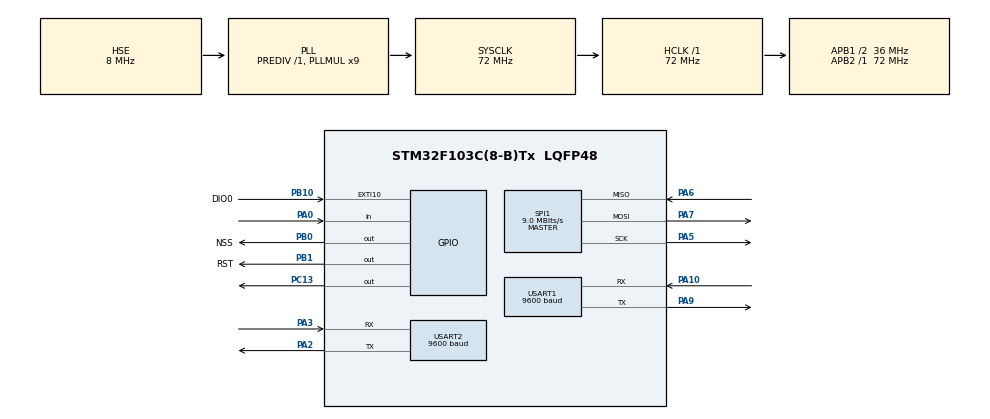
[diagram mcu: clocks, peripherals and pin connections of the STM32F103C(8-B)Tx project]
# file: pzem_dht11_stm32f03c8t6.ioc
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Mcu.Family=STM32F1
Mcu.Name=STM32F103C(8-B)Tx
Mcu.Package=LQFP48
NVIC.PriorityGroup=NVIC_PRIORITYGROUP_4
NVIC.USART1_IRQn=true\:0\:0\:false\:false\:true\:true\:true\:true
PA0-WKUP.Signal=GPIO_Input
PA10.Mode=Asynchronous
PA10.Signal=USART1_RX
PA13.Mode=Serial_Wire
PA13.Signal=SYS_JTMS-SWDIO
PA14.Mode=Serial_Wire
PA14.Signal=SYS_JTCK-SWCLK
PA2.Mode=Asynchronous
PA2.Signal=USART2_TX
PA3.Mode=Asynchronous
PA3.Signal=USART2_RX
PA5.Mode=Full_Duplex_Master
PA5.Signal=SPI1_SCK
PA6.Mode=Full_Duplex_Master
PA6.Signal=SPI1_MISO
PA7.Mode=Full_Duplex_Master
PA7.Signal=SPI1_MOSI
PA9.Mode=Asynchronous
PA9.Signal=USART1_TX
PB0.GPIO_Label=NSS
PB0.PinState=GPIO_PIN_SET
PB0.Signal=GPIO_Output
PB1.GPIO_Label=RST
PB1.GPIO_Speed=GPIO_SPEED_FREQ_LOW
PB1.PinState=GPIO_PIN_SET
PB1.Signal=GPIO_Output
PB10.GPIO_Label=DIO0
PB10.Signal=GPXTI10
PC13-TAMPER-RTC.Signal=GPIO_Output
PD0-OSC_IN.Mode=HSE-External-Oscillator
PD0-OSC_IN.Signal=RCC_OSC_IN
PD1-OSC_OUT.Mode=HSE-External-Oscillator
PD1-OSC_OUT.Signal=RCC_OSC_OUT
ProjectManager.HeapSize=0x200
ProjectManager.StackSize=0x400
ProjectManager.TargetToolchain=STM32CubeIDE
RCC.AHBFreq_Value=72000000
RCC.APB1CLKDivider=RCC_HCLK_DIV2
RCC.APB1Freq_Value=36000000
RCC.APB1TimFreq_Value=72000000
RCC.APB2Freq_Value=72000000
RCC.APB2TimFreq_Value=72000000
RCC.HCLKFreq_Value=72000000
RCC.PLLMUL=RCC_PLL_MUL9
RCC.PLLSourceVirtual=RCC_PLLSOURCE_HSE
RCC.SYSCLKFreq_VALUE=72000000
RCC.SYSCLKSource=RCC_SYSCLKSOURCE_PLLCLK
RCC.USBFreq_Value=72000000
SPI1.BaudRatePrescaler=SPI_BAUDRATEPRESCALER_8
SPI1.CalculateBaudRate=9.0 MBits/s
SPI1.Direction=SPI_DIRECTION_2LINES
SPI1.Mode=SPI_MODE_MASTER
SPI1.VirtualType=VM_MASTER
USART1.BaudRate=9600
USART1.VirtualMode=VM_ASYNC
USART2.BaudRate=9600
USART2.VirtualMode=VM_ASYNC
board=custom

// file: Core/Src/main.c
/* USER CODE BEGIN Header */
/**
  ******************************************************************************
  * @file           : main.c
  * @brief          : Main program body
  ******************************************************************************
  * @attention
  *
  * Copyright (c) 2022 STMicroelectronics.
  * All rights reserved.
  *
  * This software is licensed under terms that can be found in the LICENSE file
  * in the root directory of this software component.
  * If no LICENSE file comes with this software, it is provided AS-IS.
  *
  ******************************************************************************
  */
/* USER CODE END Header */
#include "main.h"

/* USER CODE BEGIN Includes */
#include "pzem004t.h"
#include "DHT.h"
#include "Lora.h"
/* USER CODE END Includes */

/* USER CODE BEGIN PTD */
DHT_DataTypedef DHT11_Data;
pzem PZEM;
LoRa myLoRa;
_values printval;
/* USER CODE END PTD */

SPI_HandleTypeDef hspi1;

UART_HandleTypeDef huart1;
UART_HandleTypeDef huart2;

/* USER CODE BEGIN PV */
float temp_value = 0.0;
float rh_value = 0.0;
char value_array[100] = {0};
uint8_t start_Lora = 0;

//float voltage = 0.0;
/* USER CODE END PV */

void SystemClock_Config(void);
static void MX_GPIO_Init(void);
static void MX_USART1_UART_Init(void);
static void MX_USART2_UART_Init(void);
static void MX_SPI1_Init(void);
/* USER CODE BEGIN PFP */
void SPI_Voltage_Transmit(LoRa* _LoRa, pzem *pzem);
void SPI_Current_Transmit(LoRa* _LoRa, pzem *pzem);
void SPI_Power_Transmit(LoRa* _LoRa, pzem *pzem);
void SPI_Energy_Transmit(LoRa* _LoRa, pzem *pzem);
void SPI_Frequency_Transmit(LoRa* _LoRa, pzem *pzem);
void SPI_pF_Transmit(LoRa* _LoRa, pzem *pzem);
void transmit_DHT11(void);
/* USER CODE END PFP */

/* USER CODE BEGIN 0 */
void transmit_DHT11(void)
{
	DHT_GetData(&DHT11_Data);
	temp_value = DHT11_Data.Temperature;
	rh_value = DHT11_Data.Humidity;
	sprintf(value_array, "Temperature: %.1fC    Humidity: %.1f\r\n", temp_value, rh_value);
	LoRa_transmit(&myLoRa, (uint8_t*)value_array, strlen(value_array), 3000);

	//HAL_UART_Transmit(&huart2, (uint8_t *)value_array, strlen(value_array), 1000);
}

/* USER CODE END 0 */

int main(void)
{

  /* MCU Configuration--------------------------------------------------------*/

  /* Reset of all peripherals, Initializes the Flash interface and the Systick. */
  HAL_Init();

  /* Configure the system clock */
  SystemClock_Config();

  /* Initialize all configured peripherals */
	MX_GPIO_Init();
	MX_USART1_UART_Init();
	MX_USART2_UART_Init();
	MX_SPI1_Init();
  /* USER CODE BEGIN 2 */

	//PZEM CONFIG
	init_pzem(&PZEM, &huart1, 0x01);
	HAL_UART_Receive_IT(PZEM.huart, &PZEM.byteRx[0], 1);

	//LORA CONFIG
	myLoRa = newLoRa();
	myLoRa.CS_port = NSS_GPIO_Port;
	myLoRa.CS_pin = NSS_Pin;
	myLoRa.reset_port = RST_GPIO_Port;
	myLoRa.reset_pin = RST_Pin;
	myLoRa.DIO0_port = DIO0_GPIO_Port;
	myLoRa.DIO0_pin = DIO0_Pin;
	myLoRa.hSPIx = &hspi1;

	myLoRa.frequency = 433;             // default = 433 MHz
	myLoRa.spredingFactor = SF_7;            // default = SF_7
	myLoRa.bandWidth = BW_125KHz;       // default = BW_125KHz
	myLoRa.crcRate = CR_4_5;          // default = CR_4_5
	myLoRa.power = POWER_20db;      // default = 20db
	myLoRa.overCurrentProtection = 130;             // default = 100 mA
	myLoRa.preamble = 10;              // default = 8;

	LoRa_reset(&myLoRa);
	if (LoRa_init(&myLoRa) == LORA_OK)
	{
		start_Lora = 1;
	}
  /* USER CODE END 2 */

  /* Infinite loop */
  while (1)
  {

    /* USER CODE BEGIN 3 */
	  if(updateValues(&PZEM))
	  {
//		  voltage = getVol(&PZEM);
//		  sprintf(voltageArray, "%1.f", voltage);
//		  HAL_UART_Transmit(&huart1, (uint8_t *)voltageArray, 5, 1000);
		  if(start_Lora == 1)
		  {
			  SPI_Voltage_Transmit(&myLoRa, &PZEM);
			  SPI_Current_Transmit(&myLoRa, &PZEM);
			  SPI_Power_Transmit(&myLoRa, &PZEM);
			  SPI_Energy_Transmit(&myLoRa, &PZEM);
			  SPI_Frequency_Transmit(&myLoRa, &PZEM);
			  SPI_pF_Transmit(&myLoRa, &PZEM);
			  HAL_GPIO_TogglePin(GPIOC, GPIO_PIN_13);
		  }
		  //HAL_UART_Transmit(&huart6, (uint8_t *)"\n\nThe measurement result\n\r\n", 25, HAL_MAX_DELAY);
		  /*
		  printVoltage(&huart2, &PZEM);
		  printCurrent(&huart2, &PZEM);
		  printPower(&huart2, &PZEM);
		  printEnergy(&huart2, &PZEM);
		  printFrequency(&huart2, &PZEM);
		  printpF(&huart2, &PZEM);
		  */
		  transmit_DHT11();
		  HAL_Delay(2000);
	  }

	  //HAL_Delay(2000);
  }
  /* USER CODE END 3 */
}

void SystemClock_Config(void)
{
  RCC_OscInitTypeDef RCC_OscInitStruct = {0};
  RCC_ClkInitTypeDef RCC_ClkInitStruct = {0};

  /** Initializes the RCC Oscillators according to the specified parameters
  * in the RCC_OscInitTypeDef structure.
  */
  RCC_OscInitStruct.OscillatorType = RCC_OSCILLATORTYPE_HSE;
  RCC_OscInitStruct.HSEState = RCC_HSE_ON;
  RCC_OscInitStruct.HSEPredivValue = RCC_HSE_PREDIV_DIV1;
  RCC_OscInitStruct.HSIState = RCC_HSI_ON;
  RCC_OscInitStruct.PLL.PLLState = RCC_PLL_ON;
  RCC_OscInitStruct.PLL.PLLSource = RCC_PLLSOURCE_HSE;
  RCC_OscInitStruct.PLL.PLLMUL = RCC_PLL_MUL9;
  if (HAL_RCC_OscConfig(&RCC_OscInitStruct) != HAL_OK)
  {
    Error_Handler();
  }

  /** Initializes the CPU, AHB and APB buses clocks
  */
  RCC_ClkInitStruct.ClockType = RCC_CLOCKTYPE_HCLK|RCC_CLOCKTYPE_SYSCLK
                              |RCC_CLOCKTYPE_PCLK1|RCC_CLOCKTYPE_PCLK2;
  RCC_ClkInitStruct.SYSCLKSource = RCC_SYSCLKSOURCE_PLLCLK;
  RCC_ClkInitStruct.AHBCLKDivider = RCC_SYSCLK_DIV1;
  RCC_ClkInitStruct.APB1CLKDivider = RCC_HCLK_DIV2;
  RCC_ClkInitStruct.APB2CLKDivider = RCC_HCLK_DIV1;

  if (HAL_RCC_ClockConfig(&RCC_ClkInitStruct, FLASH_LATENCY_2) != HAL_OK)
  {
    Error_Handler();
  }
}

static void MX_SPI1_Init(void)
{

  /* SPI1 parameter configuration*/
  hspi1.Instance = SPI1;
  hspi1.Init.Mode = SPI_MODE_MASTER;
  hspi1.Init.Direction = SPI_DIRECTION_2LINES;
  hspi1.Init.DataSize = SPI_DATASIZE_8BIT;
  hspi1.Init.CLKPolarity = SPI_POLARITY_LOW;
  hspi1.Init.CLKPhase = SPI_PHASE_1EDGE;
  hspi1.Init.NSS = SPI_NSS_SOFT;
  hspi1.Init.BaudRatePrescaler = SPI_BAUDRATEPRESCALER_8;
  hspi1.Init.FirstBit = SPI_FIRSTBIT_MSB;
  hspi1.Init.TIMode = SPI_TIMODE_DISABLE;
  hspi1.Init.CRCCalculation = SPI_CRCCALCULATION_DISABLE;
  hspi1.Init.CRCPolynomial = 10;
  if (HAL_SPI_Init(&hspi1) != HAL_OK)
  {
    Error_Handler();
  }

}

static void MX_USART1_UART_Init(void)
{

  huart1.Instance = USART1;
  huart1.Init.BaudRate = 9600;
  huart1.Init.WordLength = UART_WORDLENGTH_8B;
  huart1.Init.StopBits = UART_STOPBITS_1;
  huart1.Init.Parity = UART_PARITY_NONE;
  huart1.Init.Mode = UART_MODE_TX_RX;
  huart1.Init.HwFlowCtl = UART_HWCONTROL_NONE;
  huart1.Init.OverSampling = UART_OVERSAMPLING_16;
  if (HAL_UART_Init(&huart1) != HAL_OK)
  {
    Error_Handler();
  }

}

static void MX_USART2_UART_Init(void)
{

  huart2.Instance = USART2;
  huart2.Init.BaudRate = 9600;
  huart2.Init.WordLength = UART_WORDLENGTH_8B;
  huart2.Init.StopBits = UART_STOPBITS_1;
  huart2.Init.Parity = UART_PARITY_NONE;
  huart2.Init.Mode = UART_MODE_TX_RX;
  huart2.Init.HwFlowCtl = UART_HWCONTROL_NONE;
  huart2.Init.OverSampling = UART_OVERSAMPLING_16;
  if (HAL_UART_Init(&huart2) != HAL_OK)
  {
    Error_Handler();
  }

}

static void MX_GPIO_Init(void)
{
  GPIO_InitTypeDef GPIO_InitStruct = {0};

  /* GPIO Ports Clock Enable */
  __HAL_RCC_GPIOC_CLK_ENABLE();
  __HAL_RCC_GPIOD_CLK_ENABLE();
  __HAL_RCC_GPIOA_CLK_ENABLE();
  __HAL_RCC_GPIOB_CLK_ENABLE();

  /*Configure GPIO pin Output Level */
  HAL_GPIO_WritePin(GPIOC, GPIO_PIN_13, GPIO_PIN_RESET);

  /*Configure GPIO pin Output Level */
  HAL_GPIO_WritePin(GPIOB, NSS_Pin|RST_Pin, GPIO_PIN_SET);

  /*Configure GPIO pin : PC13 */
  GPIO_InitStruct.Pin = GPIO_PIN_13;
  GPIO_InitStruct.Mode = GPIO_MODE_OUTPUT_PP;
  GPIO_InitStruct.Pull = GPIO_NOPULL;
  GPIO_InitStruct.Speed = GPIO_SPEED_FREQ_LOW;
  HAL_GPIO_Init(GPIOC, &GPIO_InitStruct);

  /*Configure GPIO pin : PA0 */
  GPIO_InitStruct.Pin = GPIO_PIN_0;
  GPIO_InitStruct.Mode = GPIO_MODE_INPUT;
  GPIO_InitStruct.Pull = GPIO_NOPULL;
  HAL_GPIO_Init(GPIOA, &GPIO_InitStruct);

  /*Configure GPIO pins : NSS_Pin RST_Pin */
  GPIO_InitStruct.Pin = NSS_Pin|RST_Pin;
  GPIO_InitStruct.Mode = GPIO_MODE_OUTPUT_PP;
  GPIO_InitStruct.Pull = GPIO_NOPULL;
  GPIO_InitStruct.Speed = GPIO_SPEED_FREQ_LOW;
  HAL_GPIO_Init(GPIOB, &GPIO_InitStruct);

  /*Configure GPIO pin : DIO0_Pin */
  GPIO_InitStruct.Pin = DIO0_Pin;
  GPIO_InitStruct.Mode = GPIO_MODE_IT_RISING;
  GPIO_InitStruct.Pull = GPIO_NOPULL;
  HAL_GPIO_Init(DIO0_GPIO_Port, &GPIO_InitStruct);

}

/* USER CODE BEGIN 4 */
void HAL_UART_RxCpltCallback(UART_HandleTypeDef *huart)
{
	if(PZEM.rxbufferIndex >30)
	{
		 PZEM.rxbufferIndex=0;
	}

	if (huart->Instance == UART_PZEM) //queried which uart is used
	{
		HAL_UART_Receive_IT(PZEM.huart,&PZEM.byteRx[0], 1);
		PZEM.rxBuffer[PZEM.rxbufferIndex] =PZEM.byteRx[0];
		PZEM.rxbufferIndex++;
	}
}
/* USER CODE END 4 */

void Error_Handler(void)
{
  __disable_irq();
  while (1)
  {
  }
}
